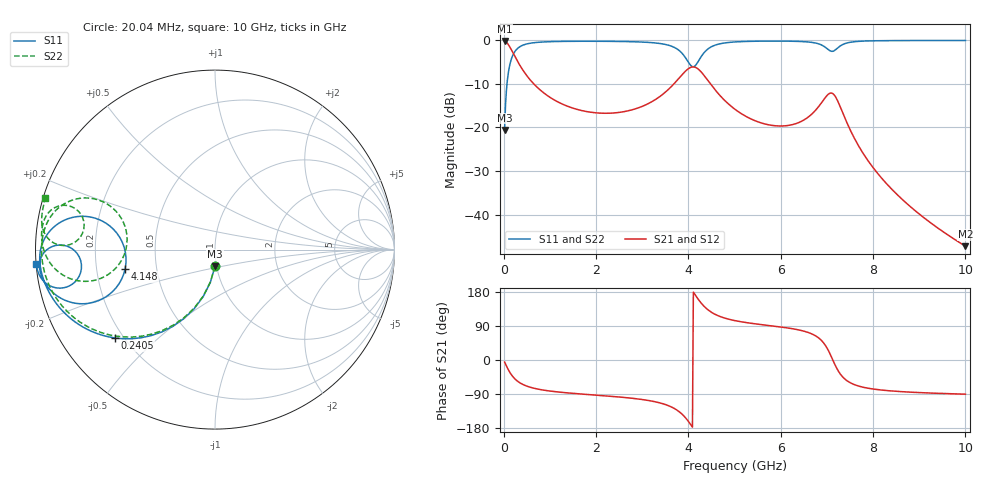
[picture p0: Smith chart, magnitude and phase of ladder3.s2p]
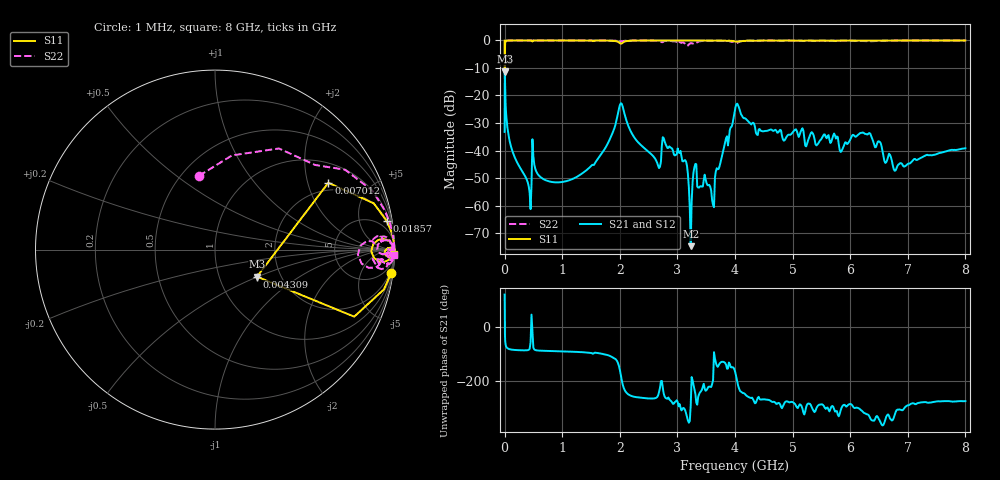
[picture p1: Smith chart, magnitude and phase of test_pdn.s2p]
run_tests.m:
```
% Load the tabulated curve to fit
[ f, v2 ] = load_s2p( "ladder3.s2p" );

% Order of approximation, number of poles
npoles = 5;

% Number of the pole relocating iterations
niter = 3;

% First one to fit
v = squeeze( v2(1,1,:) );

[ poles, resid, d ] = simplest_fit( f, v, npoles, niter );
[ rmserr, maxerr ] = calc_err( f, v, poles, resid, d );
assert( rmserr < 1e-6 )
assert( maxerr < 1e-6 )

[ poles, resid, d ] = causal_fit( f, v, f*0+1, npoles, niter, 1 );
[ rmserr, maxerr ] = calc_err( f, v, poles, resid, d );
assert( rmserr < 1e-6 )
assert( maxerr < 1e-6 )

% second one to fit
v = squeeze( v2(2,1,:) );

[ poles, resid, d ] = simplest_fit( f, v, npoles, niter );
[ rmserr, maxerr ] = calc_err( f, v, poles, resid, d );
assert( rmserr < 1e-6 )
assert( maxerr < 1e-6 )

[ poles, resid, d ] = causal_fit( f, v, f*0+1, npoles, niter, 1 );
[ rmserr, maxerr ] = calc_err( f, v, poles, resid, d );
assert( rmserr < 1e-7 )
assert( maxerr < 1e-7 )

%
% Weighted fit test
%

% Load the tabulated curve to fit
[ fhz, v2 ] = load_s2p( "test_pdn.s2p" );

% curve to fit
v = squeeze( v2(2,1,:) );

% Order of approximation, number of poles
npoles = 200;

% Number of the pole relocating iterations
niter = 2;

% Uniform weights
weight = 1+v*0;
[ poles, resid, d ] = causal_fit( fhz, v, weight, npoles, niter, 0 );
[ rmserr, maxerr, err ] = calc_err( fhz, v, poles, resid, d );
assert( rmserr < 1e-3 )
assert( err(1) < 1e-4 )
assert( err(1) > 1e-6 )

% Inverted sample magnitude weights
weight = 1./max(sqrt(abs(v)),1e-5);
[ poles, resid, d ] = causal_fit( fhz, v, weight, npoles, niter, 0 );
[ rmserr, maxerr, err ] = calc_err( fhz, v, poles, resid, d );
assert( rmserr < 1e-3 )
assert( err(1) < 1e-12 )


% Load the tabulated curve to fit
[ fhz, v2 ] = load_s2p( "test_pdn.s2p" );

% Order of approximation, number of poles
npoles = 100;

% Number of the pole relocating iterations
niter = 3;

nports = size(v2, 1);

% vector to fit
v = transpose( reshape( v2, nports*nports, [] ) );

weight = v*0+1;

% Vector fitting!
[ poles, resid, d ] = vector_fit( fhz, v, weight, npoles, niter, 0 );

[ rmserr, maxerr, err ] = calc_err( fhz, v, poles, resid, d );
rmserr
```
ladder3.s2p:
# HZ S  RI R 5.000000e+01
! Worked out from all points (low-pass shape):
!   499 points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, 20.04 MHz to 10 GHz, reference 50 ohm
!   highest |S21| = -0.12 dB at 20.04 MHz (marker M1); lowest = -47.3 dB at 10 GHz (marker M2)
!   |S21| within 3 dB of the highest: start of sweep to 214.8 MHz
!   lowest |S11| = -20.6 dB at 20.04 MHz (marker M3), VSWR 1.21, Z = 49.1 - j9.28 ohm
!   |S11| at or under -10 dB: start of sweep to 72.26 MHz
!   |S22| runs from -20.7 to -0.1 dB; largest |S21 - S12| = 1.9e-15
!   S11 on the Smith chart (normalised r, x): 20.04 MHz: 0.98, -0.19; 240.5 MHz: 0.17, -0.37; 4.148 GHz: 0.33, -0.10; 10 GHz: 0.00, -0.04
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2.004008e7  3.07e-05 -0.0936  0.9822 -0.0942  0.9822 -0.0942  6.68e-05 -0.0925
2.40481e8  -0.5556 -0.4927  0.4275 -0.5005  0.4275 -0.5005  -0.5533 -0.4818
6.813627e8  -0.9053 -0.2702  0.0776 -0.2953  0.0776 -0.2953  -0.9009 -0.2438
2.064128e9  -0.9766 -0.0472  -0.00845 -0.1462  -0.00845 -0.1462  -0.9656 0.029
3.787575e9  -0.7534 0.1852  -0.2576 -0.2557  -0.2576 -0.2557  -0.7105 0.2875
4.148297e9  -0.5008 -0.1083  -0.4863 0.0704  -0.4863 0.0704  -0.5055 -0.0284
5.01002e9  -0.9402 -0.1972  -0.0387 0.157  -0.0387 0.157  -0.949 -0.0164
6.172345e9  -0.9773 -0.0757  0.0107 0.1052  0.0107 0.1052  -0.9568 0.1502
7.114228e9  -0.7442 -0.0836  0.2468 0.0165  0.2468 0.0165  -0.731 0.1152
8.216433e9  -0.9851 -0.1268  0.00449 -0.0247  0.00449 -0.0247  -0.9654 0.1768
1e10  -0.9958 -0.0808  -1.24e-05 -0.00433  -1.24e-05 -0.00433  -0.9451 0.286
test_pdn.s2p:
# HZ S  RI R 1.000000e-01
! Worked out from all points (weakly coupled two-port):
!   500 points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, 1 MHz to 8 GHz, reference 0.1 ohm
!   highest |S21| = -11.52 dB at 4.309 MHz (marker M1); lowest = -74.8 dB at 3.232 GHz (marker M2)
!   lowest |S11| = -11.1 dB at 4.309 MHz (marker M3), VSWR 1.77, Z = 0.151 - j0.0496 ohm
!   |S11| at or under -10 dB: 4.122 MHz to 4.663 MHz (541.1 kHz wide, 12.3 % of centre)
!   |S22| runs from -7.5 to 0.0 dB; largest |S21 - S12| = 0
!   S11 on the Smith chart (normalised r, x): 1 MHz: 1, -15; 4.309 MHz: 1.51, -0.50; 7.012 MHz: 1.69, +2.71; 18.57 MHz: 2, +12; 8 GHz: 6, -85
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1000000  0.9813 -0.1306  -0.0108 0.0188  -0.0108 0.0188  -0.0887 0.4111
4308869  0.234 -0.1511  0.2138 0.1574  0.2138 0.1574  0.5573 0.4717
7011610  0.6315 0.3723  0.1753 -0.0925  0.1753 -0.0925  0.7254 0.4448
1.856636e7  0.9564 0.16  0.0267 -0.0625  0.0267 -0.0625  0.9465 0.2177
4.355918e8  0.9993 -0.000603  0.00024 -0.00169  0.00024 -0.00169  0.9997 0.00427
2.019592e9  0.8703 -0.0087  -0.0726 0.000806  -0.0726 0.000806  0.9576 -0.0272
3.037878e9  0.9988 -0.00619  0.00261 0.00862  0.00261 0.00862  0.9374 -0.0562
3.231837e9  0.9989 -0.0093  6.69e-05 0.00017  6.69e-05 0.00017  0.8861 0.0367
3.619755e9  0.9977 -0.0174  -0.000965 0.000342  -0.000965 0.000342  0.9796 -0.00324
4.007673e9  0.9514 -0.0315  -0.0597 -0.00922  -0.0597 -0.00922  0.9181 -0.0202
8e9  0.998 -0.0233  0.00118 0.0109  0.00118 0.0109  0.9984 -0.0273
